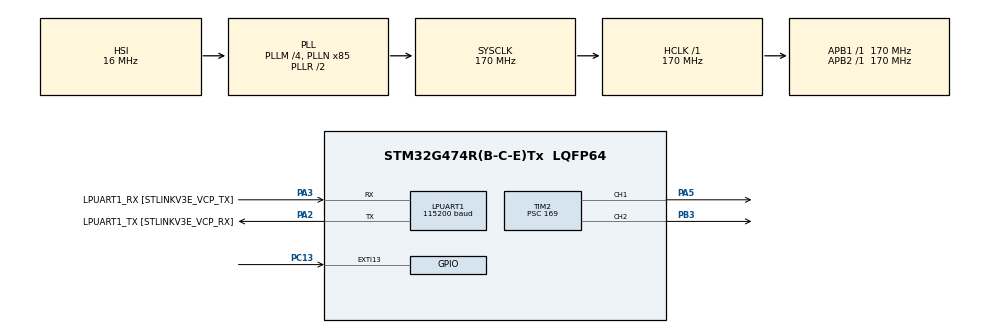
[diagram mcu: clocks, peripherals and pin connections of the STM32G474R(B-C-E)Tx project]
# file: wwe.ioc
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LPUART1.BaudRate=115200
Mcu.Family=STM32G4
Mcu.Name=STM32G474R(B-C-E)Tx
Mcu.Package=LQFP64
NVIC.EXTI15_10_IRQn=true\:0\:0\:false\:false\:true\:true\:true\:true
NVIC.LPUART1_IRQn=true\:1\:0\:true\:false\:true\:true\:true\:true
NVIC.PriorityGroup=NVIC_PRIORITYGROUP_4
PA13.GPIO_Label=T_SWDIO
PA13.Signal=SYS_JTMS-SWDIO
PA14.GPIO_Label=T_SWCLK
PA14.Signal=SYS_JTCK-SWCLK
PA2.GPIO_Label=LPUART1_TX [STLINKV3E_VCP_RX]
PA2.Mode=Asynchronous
PA2.Signal=LPUART1_TX
PA3.GPIO_Label=LPUART1_RX [STLINKV3E_VCP_TX]
PA3.Mode=Asynchronous
PA3.Signal=LPUART1_RX
PA5.Signal=S_TIM2_CH1
PB3.Signal=S_TIM2_CH2
PC13.GPIO_ModeDefaultEXTI=GPIO_MODE_IT_FALLING
PC13.Signal=GPXTI13
PC14-OSC32_IN.GPIO_Label=RCC_OSC32_IN
PC14-OSC32_IN.Signal=RCC_OSC32_IN
PC15-OSC32_OUT.GPIO_Label=RCC_OSC32_OUT
PC15-OSC32_OUT.Signal=RCC_OSC32_OUT
PF0-OSC_IN.GPIO_Label=RCC_OSC_IN
PF0-OSC_IN.Signal=RCC_OSC_IN
PF1-OSC_OUT.GPIO_Label=RCC_OSC_OUT
PF1-OSC_OUT.Signal=RCC_OSC_OUT
ProjectManager.HeapSize=0x200
ProjectManager.StackSize=0x400
ProjectManager.TargetToolchain=STM32CubeIDE
RCC.ADC12Freq_Value=170000000
RCC.ADC345Freq_Value=170000000
RCC.AHBFreq_Value=170000000
RCC.APB1Freq_Value=170000000
RCC.APB1TimFreq_Value=170000000
RCC.APB2Freq_Value=170000000
RCC.APB2TimFreq_Value=170000000
RCC.CortexFreq_Value=170000000
RCC.EXTERNAL_CLOCK_VALUE=12288000
RCC.HCLKFreq_Value=170000000
RCC.HSE_VALUE=24000000
RCC.HSI48_VALUE=48000000
RCC.HSI_VALUE=16000000
RCC.LSE_VALUE=32768
RCC.PLLM=RCC_PLLM_DIV4
RCC.PLLN=85
RCC.RTCClockSelection=RCC_RTCCLKSOURCE_LSE
RCC.SYSCLKFreq_VALUE=170000000
RCC.SYSCLKSource=RCC_SYSCLKSOURCE_PLLCLK
RCC.USBFreq_Value=170000000
RCC.VCOOutputFreq_Value=340000000
SH.S_TIM2_CH1.0=TIM2_CH1,PWM Generation1 CH1
SH.S_TIM2_CH2.0=TIM2_CH2,PWM Generation2 CH2
TIM2.Channel-PWM\ Generation1\ CH1=TIM_CHANNEL_1
TIM2.Channel-PWM\ Generation2\ CH2=TIM_CHANNEL_2
TIM2.PeriodNoDither=999
TIM2.Prescaler=169
VP_SYS_VS_DBSignals.Mode=DisableDeadBatterySignals
VP_TIM2_VS_ClockSourceINT.Mode=Internal
board=NUCLEO-G474RE

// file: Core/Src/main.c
/* USER CODE BEGIN Header */
/**
  ******************************************************************************
  * @file           : main.c
  * @brief          : Main program body
  ******************************************************************************
  * @attention
  *
  * Copyright (c) 2026 STMicroelectronics.
  * All rights reserved.
  *
  * This software is licensed under terms that can be found in the LICENSE file
  * in the root directory of this software component.
  * If no LICENSE file comes with this software, it is provided AS-IS.
  *
  ******************************************************************************
  */
/* USER CODE END Header */
#include "main.h"

/* USER CODE BEGIN Includes */
#include <string.h>
/* USER CODE END Includes */

UART_HandleTypeDef hlpuart1;

TIM_HandleTypeDef htim2;

/* USER CODE BEGIN PV */
uint8_t rx_data;
char rx_buffer[20];
uint8_t rx_index = 0;

volatile uint8_t system_alarm = 0;
volatile uint8_t unlock_state = 0;

// --- 新增：用於非阻塞控制的時間與狀態變數 ---
uint32_t green_last_tick = 0; // 記錄綠燈上次變化的時間
int green_pwm = 0;            // 綠燈當前亮度
int green_step = 5;           // 綠燈每次增減的幅度

uint32_t red_last_tick = 0;   // 記錄紅燈上次切換的時間
uint8_t red_state = 0;
/* USER CODE END PV */

void SystemClock_Config(void);
static void MX_GPIO_Init(void);
static void MX_LPUART1_UART_Init(void);
static void MX_TIM2_Init(void);

int main(void)
{

  /* MCU Configuration--------------------------------------------------------*/

  /* Reset of all peripherals, Initializes the Flash interface and the Systick. */
  HAL_Init();

  /* Configure the system clock */
  SystemClock_Config();

  /* Initialize all configured peripherals */
  MX_GPIO_Init();
  MX_LPUART1_UART_Init();
  MX_TIM2_Init();
  /* USER CODE BEGIN 2 */
  // 啟動 UART 接收中斷
  HAL_UART_Receive_IT(&hlpuart1, &rx_data, 1);

  // 啟動 TIM2 的 PWM 通道 (PA5 綠燈, PB3 紅燈)
  HAL_TIM_PWM_Start(&htim2, TIM_CHANNEL_1);
  HAL_TIM_PWM_Start(&htim2, TIM_CHANNEL_2);
  /* USER CODE END 2 */

  /* Infinite loop */
  /* USER CODE BEGIN WHILE */
    while (1)
    {
    	uint32_t current_time = HAL_GetTick();

    	    // --- 核心邏輯升級：警報優先權最高 ---
    	    // 如果紅燈警報被觸發，強制沒收綠燈的解鎖狀態！
    	    if (system_alarm == 1) {
    	        unlock_state = 0;
    	    }

    	    // --- 功能 1：綠燈解鎖呼吸燈 ---
    	    if (unlock_state == 1) {
    	        if (current_time - green_last_tick >= 15) {
    	            green_last_tick = current_time;
    	            green_pwm += green_step;

    	            if (green_pwm >= 1000) {
    	                green_pwm = 1000;
    	                green_step = -5;
    	            } else if (green_pwm <= 0 && green_step < 0) {
    	                green_pwm = 0;
    	                green_step = 5;
    	                unlock_state = 0;
    	            }
    	            __HAL_TIM_SET_COMPARE(&htim2, TIM_CHANNEL_1, green_pwm);
    	        }
    	    } else {
    	        // 只要 unlock_state 變成 0，綠燈就會立刻被這行強制熄滅並重置
    	        __HAL_TIM_SET_COMPARE(&htim2, TIM_CHANNEL_1, 0);
    	        green_pwm = 0;
    	        green_step = 5;
    	    }

    	    // --- 功能 2：紅燈防拆警報閃爍 ---
    	    if (system_alarm == 1) {
    	        if (current_time - red_last_tick >= 100) {
    	            red_last_tick = current_time;
    	            red_state = !red_state;

    	            if (red_state == 1) {
    	                __HAL_TIM_SET_COMPARE(&htim2, TIM_CHANNEL_2, 500);
    	            } else {
    	                __HAL_TIM_SET_COMPARE(&htim2, TIM_CHANNEL_2, 0);
    	            }
    	        }
    	    } else {
    	        __HAL_TIM_SET_COMPARE(&htim2, TIM_CHANNEL_2, 0);
    	        red_state = 0;
        }
    /* USER CODE END WHILE */

    }
}

void SystemClock_Config(void)
{
  RCC_OscInitTypeDef RCC_OscInitStruct = {0};
  RCC_ClkInitTypeDef RCC_ClkInitStruct = {0};

  /** Configure the main internal regulator output voltage
  */
  HAL_PWREx_ControlVoltageScaling(PWR_REGULATOR_VOLTAGE_SCALE1_BOOST);

  /** Initializes the RCC Oscillators according to the specified parameters
  * in the RCC_OscInitTypeDef structure.
  */
  RCC_OscInitStruct.OscillatorType = RCC_OSCILLATORTYPE_HSI;
  RCC_OscInitStruct.HSIState = RCC_HSI_ON;
  RCC_OscInitStruct.HSICalibrationValue = RCC_HSICALIBRATION_DEFAULT;
  RCC_OscInitStruct.PLL.PLLState = RCC_PLL_ON;
  RCC_OscInitStruct.PLL.PLLSource = RCC_PLLSOURCE_HSI;
  RCC_OscInitStruct.PLL.PLLM = RCC_PLLM_DIV4;
  RCC_OscInitStruct.PLL.PLLN = 85;
  RCC_OscInitStruct.PLL.PLLP = RCC_PLLP_DIV2;
  RCC_OscInitStruct.PLL.PLLQ = RCC_PLLQ_DIV2;
  RCC_OscInitStruct.PLL.PLLR = RCC_PLLR_DIV2;
  if (HAL_RCC_OscConfig(&RCC_OscInitStruct) != HAL_OK)
  {
    Error_Handler();
  }

  /** Initializes the CPU, AHB and APB buses clocks
  */
  RCC_ClkInitStruct.ClockType = RCC_CLOCKTYPE_HCLK|RCC_CLOCKTYPE_SYSCLK
                              |RCC_CLOCKTYPE_PCLK1|RCC_CLOCKTYPE_PCLK2;
  RCC_ClkInitStruct.SYSCLKSource = RCC_SYSCLKSOURCE_PLLCLK;
  RCC_ClkInitStruct.AHBCLKDivider = RCC_SYSCLK_DIV1;
  RCC_ClkInitStruct.APB1CLKDivider = RCC_HCLK_DIV1;
  RCC_ClkInitStruct.APB2CLKDivider = RCC_HCLK_DIV1;

  if (HAL_RCC_ClockConfig(&RCC_ClkInitStruct, FLASH_LATENCY_4) != HAL_OK)
  {
    Error_Handler();
  }
}

static void MX_LPUART1_UART_Init(void)
{

  hlpuart1.Instance = LPUART1;
  hlpuart1.Init.BaudRate = 115200;
  hlpuart1.Init.WordLength = UART_WORDLENGTH_8B;
  hlpuart1.Init.StopBits = UART_STOPBITS_1;
  hlpuart1.Init.Parity = UART_PARITY_NONE;
  hlpuart1.Init.Mode = UART_MODE_TX_RX;
  hlpuart1.Init.HwFlowCtl = UART_HWCONTROL_NONE;
  hlpuart1.Init.OneBitSampling = UART_ONE_BIT_SAMPLE_DISABLE;
  hlpuart1.Init.ClockPrescaler = UART_PRESCALER_DIV1;
  hlpuart1.AdvancedInit.AdvFeatureInit = UART_ADVFEATURE_NO_INIT;
  if (HAL_UART_Init(&hlpuart1) != HAL_OK)
  {
    Error_Handler();
  }
  if (HAL_UARTEx_SetTxFifoThreshold(&hlpuart1, UART_TXFIFO_THRESHOLD_1_8) != HAL_OK)
  {
    Error_Handler();
  }
  if (HAL_UARTEx_SetRxFifoThreshold(&hlpuart1, UART_RXFIFO_THRESHOLD_1_8) != HAL_OK)
  {
    Error_Handler();
  }
  if (HAL_UARTEx_DisableFifoMode(&hlpuart1) != HAL_OK)
  {
    Error_Handler();
  }

}

static void MX_TIM2_Init(void)
{

  TIM_ClockConfigTypeDef sClockSourceConfig = {0};
  TIM_MasterConfigTypeDef sMasterConfig = {0};
  TIM_OC_InitTypeDef sConfigOC = {0};

  htim2.Instance = TIM2;
  htim2.Init.Prescaler = 169;
  htim2.Init.CounterMode = TIM_COUNTERMODE_UP;
  htim2.Init.Period = 999;
  htim2.Init.ClockDivision = TIM_CLOCKDIVISION_DIV1;
  htim2.Init.AutoReloadPreload = TIM_AUTORELOAD_PRELOAD_DISABLE;
  if (HAL_TIM_Base_Init(&htim2) != HAL_OK)
  {
    Error_Handler();
  }
  sClockSourceConfig.ClockSource = TIM_CLOCKSOURCE_INTERNAL;
  if (HAL_TIM_ConfigClockSource(&htim2, &sClockSourceConfig) != HAL_OK)
  {
    Error_Handler();
  }
  if (HAL_TIM_PWM_Init(&htim2) != HAL_OK)
  {
    Error_Handler();
  }
  sMasterConfig.MasterOutputTrigger = TIM_TRGO_RESET;
  sMasterConfig.MasterSlaveMode = TIM_MASTERSLAVEMODE_DISABLE;
  if (HAL_TIMEx_MasterConfigSynchronization(&htim2, &sMasterConfig) != HAL_OK)
  {
    Error_Handler();
  }
  sConfigOC.OCMode = TIM_OCMODE_PWM1;
  sConfigOC.Pulse = 0;
  sConfigOC.OCPolarity = TIM_OCPOLARITY_HIGH;
  sConfigOC.OCFastMode = TIM_OCFAST_DISABLE;
  if (HAL_TIM_PWM_ConfigChannel(&htim2, &sConfigOC, TIM_CHANNEL_1) != HAL_OK)
  {
    Error_Handler();
  }
  if (HAL_TIM_PWM_ConfigChannel(&htim2, &sConfigOC, TIM_CHANNEL_2) != HAL_OK)
  {
    Error_Handler();
  }
  HAL_TIM_MspPostInit(&htim2);

}

static void MX_GPIO_Init(void)
{
  GPIO_InitTypeDef GPIO_InitStruct = {0};

  /* GPIO Ports Clock Enable */
  __HAL_RCC_GPIOC_CLK_ENABLE();
  __HAL_RCC_GPIOF_CLK_ENABLE();
  __HAL_RCC_GPIOA_CLK_ENABLE();
  __HAL_RCC_GPIOB_CLK_ENABLE();

  /*Configure GPIO pin : PC13 */
  GPIO_InitStruct.Pin = GPIO_PIN_13;
  GPIO_InitStruct.Mode = GPIO_MODE_IT_FALLING;
  GPIO_InitStruct.Pull = GPIO_NOPULL;
  HAL_GPIO_Init(GPIOC, &GPIO_InitStruct);

  /* EXTI interrupt init*/
  HAL_NVIC_SetPriority(EXTI15_10_IRQn, 0, 0);
  HAL_NVIC_EnableIRQ(EXTI15_10_IRQn);

}

/* USER CODE BEGIN 4 */
void HAL_UART_RxCpltCallback(UART_HandleTypeDef *huart) {
    if (huart->Instance == LPUART1) {
        // 1. 將收到的字元存入陣列，並隨時封裝成完整字串
        rx_buffer[rx_index] = rx_data;
        rx_index++;
        rx_buffer[rx_index] = '\0'; // 補上結尾讓 strstr 可以讀取

        // 2. 暴力搜尋：不管有沒有換行符號，只要字串內出現 "PASS=103" 就解鎖
        if (strstr(rx_buffer, "PASS=103") != NULL) {
            unlock_state = 1;         // 密碼命中，觸發綠燈呼吸
            rx_index = 0;             // 歸零陣列索引
            memset(rx_buffer, 0, 20); // 清空陣列
        }

        // 3. 防止陣列溢位：如果輸入太長都沒中，自動歸零重新接收
        if (rx_index >= 19) {
            rx_index = 0;
            memset(rx_buffer, 0, 20);
        }

        // 重新啟動接收
        HAL_UART_Receive_IT(&hlpuart1, &rx_data, 1);
    }
}

void HAL_GPIO_EXTI_Callback(uint16_t GPIO_Pin) {
    if (GPIO_Pin == GPIO_PIN_13) {
        system_alarm = !system_alarm; // 藍色按鈕切換紅燈警報
    }
}
/* USER CODE END 4 */

void Error_Handler(void)
{
  __disable_irq();
  while (1)
  {
  }
}
